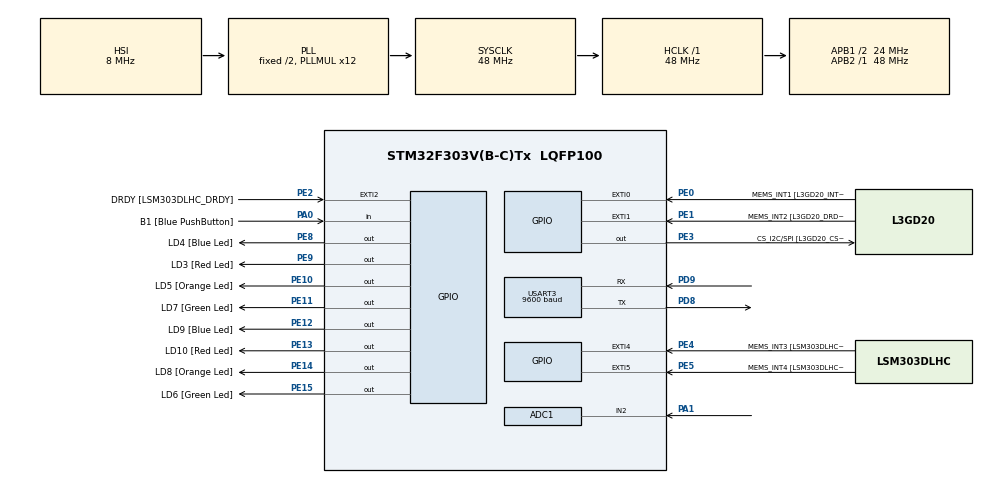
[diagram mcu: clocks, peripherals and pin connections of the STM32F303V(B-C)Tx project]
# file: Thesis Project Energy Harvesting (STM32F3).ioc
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ADC1.Channel-2\#ChannelRegularConversion=ADC_CHANNEL_VREFINT
ADC1.Channel-4\#ChannelRegularConversion=ADC_CHANNEL_2
ADC1.ClockPrescaler=ADC_CLOCK_ASYNC_DIV1
ADC1.ContinuousConvMode=ENABLE
ADC1.DMAContinuousRequests=DISABLE
ADC1.DataAlign=ADC_DATAALIGN_RIGHT
ADC1.DiscontinuousConvMode=DISABLE
ADC1.EOCSelection=ADC_EOC_SINGLE_CONV
ADC1.EnableAnalogWatchDog1=false
ADC1.EnableAnalogWatchDog2=false
ADC1.EnableAnalogWatchDog3=false
ADC1.EnableInjectedConversion=ENABLE
ADC1.EnableRegularConversion=ENABLE
ADC1.ExternalTrigConv=ADC_SOFTWARE_START
ADC1.ExternalTrigConvEdge=ADC_EXTERNALTRIGCONVEDGE_NONE
ADC1.InjNumberOfConversion=0
ADC1.LowPowerAutoWait=DISABLE
ADC1.NbrOfConversion=2
ADC1.NbrOfConversionFlag=1
ADC1.Offset-2\#ChannelRegularConversion=0
ADC1.Offset-4\#ChannelRegularConversion=0
ADC1.OffsetNumber-2\#ChannelRegularConversion=ADC_OFFSET_NONE
ADC1.OffsetNumber-4\#ChannelRegularConversion=ADC_OFFSET_NONE
ADC1.Overrun=ADC_OVR_DATA_OVERWRITTEN
ADC1.Rank-2\#ChannelRegularConversion=1
ADC1.Rank-4\#ChannelRegularConversion=2
ADC1.Resolution=ADC_RESOLUTION_12B
ADC1.SamplingTime-2\#ChannelRegularConversion=ADC_SAMPLETIME_601CYCLES_5
ADC1.SamplingTime-4\#ChannelRegularConversion=ADC_SAMPLETIME_601CYCLES_5
ADC1.ScanConvMode=ADC_SCAN_ENABLE
ADC1.master=1
Mcu.Family=STM32F3
Mcu.Name=STM32F303V(B-C)Tx
Mcu.Package=LQFP100
NVIC.ADC1_2_IRQn=true\:0\:0\:false\:false\:true\:true\:true
NVIC.PriorityGroup=NVIC_PRIORITYGROUP_0
PA0.GPIO_Label=B1 [Blue PushButton]
PA0.GPIO_Mode=GPIO_MODE_INPUT
PA0.GPIO_PuPd=GPIO_NOPULL
PA0.Signal=GPIO_Input
PA1.Mode=IN2-Single-Ended
PA1.Signal=ADC1_IN2
PA11.GPIO_Label=DM
PA11.Signal=USB_DM
PA12.GPIO_Label=DP
PA12.Signal=USB_DP
PA13.GPIO_Label=SWDIO
PA13.Mode=Serial_Wire
PA13.Signal=SYS_JTMS-SWDIO
PA14.GPIO_Label=SWCLK
PA14.Mode=Serial_Wire
PA14.Signal=SYS_JTCK-SWCLK
PA5.GPIO_Label=SPI1_SCK [L3GD20_SCL/SPC]
PA5.GPIO_Mode=GPIO_MODE_AF_PP
PA5.GPIO_PuPd=GPIO_NOPULL
PA5.GPIO_Speed=GPIO_SPEED_FREQ_LOW
PA5.Signal=SPI1_SCK
PA6.GPIO_Label=SPI1_MISO [L3GD20_SA0/SDO]
PA6.GPIO_Mode=GPIO_MODE_AF_PP
PA6.GPIO_PuPd=GPIO_NOPULL
PA6.GPIO_Speed=GPIO_SPEED_FREQ_LOW
PA6.Signal=SPI1_MISO
PA7.GPIO_Label=SPI1_MISO [L3GD20_SDA/SDI/SDO]
PA7.GPIO_Mode=GPIO_MODE_AF_PP
PA7.GPIO_PuPd=GPIO_NOPULL
PA7.GPIO_Speed=GPIO_SPEED_FREQ_LOW
PA7.Signal=SPI1_MOSI
PB3.GPIO_Label=SWO
PB3.Signal=SYS_JTDO-TRACESWO
PB6.GPIO_FM6=__NULL
PB6.GPIO_Label=I2C1_SCL [LSM303DLHC_SCL]
PB6.GPIO_Mode=GPIO_MODE_AF_OD
PB6.GPIO_PuPd=GPIO_NOPULL
PB6.GPIO_Speed=GPIO_SPEED_FREQ_LOW
PB6.Signal=I2C1_SCL
PB7.GPIO_FM7=__NULL
PB7.GPIO_Label=I2C1_SDA [LSM303DLHC_SDA]
PB7.GPIO_Mode=GPIO_MODE_AF_OD
PB7.GPIO_PuPd=GPIO_NOPULL
PB7.GPIO_Speed=GPIO_SPEED_FREQ_LOW
PB7.Signal=I2C1_SDA
PC14-OSC32_IN.GPIO_Label=OSC32_IN
PC14-OSC32_IN.Signal=RCC_OSC32_IN
PC15-OSC32_OUT.GPIO_Label=OSC32_OUT
PC15-OSC32_OUT.Signal=RCC_OSC32_OUT
PD8.Mode=Asynchronous
PD8.Signal=USART3_TX
PD9.Mode=Asynchronous
PD9.Signal=USART3_RX
PE0.GPIO_Label=MEMS_INT1 [L3GD20_INT1]
PE0.GPIO_ModeDefaultEXTI=GPIO_MODE_EVT_RISING
PE0.GPIO_PuPd=GPIO_NOPULL
PE0.Signal=GPXTI0
PE1.GPIO_Label=MEMS_INT2 [L3GD20_DRDY/INT2]
PE1.GPIO_ModeDefaultEXTI=GPIO_MODE_EVT_RISING
PE1.GPIO_PuPd=GPIO_NOPULL
PE1.Signal=GPXTI1
PE10.GPIO_Label=LD5 [Orange Led]
PE10.GPIO_ModeDefaultOutputPP=GPIO_MODE_OUTPUT_PP
PE10.GPIO_PuPd=GPIO_NOPULL
PE10.GPIO_Speed=GPIO_SPEED_FREQ_LOW
PE10.Signal=GPIO_Output
PE11.GPIO_Label=LD7 [Green Led]
PE11.GPIO_ModeDefaultOutputPP=GPIO_MODE_OUTPUT_PP
PE11.GPIO_PuPd=GPIO_NOPULL
PE11.GPIO_Speed=GPIO_SPEED_FREQ_LOW
PE11.Signal=GPIO_Output
PE12.GPIO_Label=LD9 [Blue Led]
PE12.GPIO_ModeDefaultOutputPP=GPIO_MODE_OUTPUT_PP
PE12.GPIO_PuPd=GPIO_NOPULL
PE12.GPIO_Speed=GPIO_SPEED_FREQ_LOW
PE12.Signal=GPIO_Output
PE13.GPIO_Label=LD10 [Red Led]
PE13.GPIO_ModeDefaultOutputPP=GPIO_MODE_OUTPUT_PP
PE13.GPIO_PuPd=GPIO_NOPULL
PE13.GPIO_Speed=GPIO_SPEED_FREQ_LOW
PE13.Signal=GPIO_Output
PE14.GPIO_Label=LD8 [Orange Led]
PE14.GPIO_ModeDefaultOutputPP=GPIO_MODE_OUTPUT_PP
PE14.GPIO_PuPd=GPIO_NOPULL
PE14.GPIO_Speed=GPIO_SPEED_FREQ_LOW
PE14.Signal=GPIO_Output
PE15.GPIO_Label=LD6 [Green Led]
PE15.GPIO_ModeDefaultOutputPP=GPIO_MODE_OUTPUT_PP
PE15.GPIO_PuPd=GPIO_NOPULL
PE15.GPIO_Speed=GPIO_SPEED_FREQ_LOW
PE15.Signal=GPIO_Output
PE2.GPIO_Label=DRDY [LSM303DLHC_DRDY]
PE2.GPIO_ModeDefaultEXTI=GPIO_MODE_EVT_RISING
PE2.GPIO_PuPd=GPIO_NOPULL
PE2.Signal=GPXTI2
PE3.GPIO_Label=CS_I2C/SPI [L3GD20_CS_I2C/SPI]
PE3.GPIO_ModeDefaultOutputPP=GPIO_MODE_OUTPUT_PP
PE3.GPIO_PuPd=GPIO_NOPULL
PE3.GPIO_Speed=GPIO_SPEED_FREQ_LOW
PE3.Signal=GPIO_Output
PE4.GPIO_Label=MEMS_INT3 [LSM303DLHC_INT1]
PE4.GPIO_ModeDefaultEXTI=GPIO_MODE_EVT_RISING
PE4.GPIO_PuPd=GPIO_NOPULL
PE4.Signal=GPXTI4
PE5.GPIO_Label=MEMS_INT4 [LSM303DLHC_INT2]
PE5.GPIO_ModeDefaultEXTI=GPIO_MODE_EVT_RISING
PE5.GPIO_PuPd=GPIO_NOPULL
PE5.Signal=GPXTI5
PE8.GPIO_Label=LD4 [Blue Led]
PE8.GPIO_ModeDefaultOutputPP=GPIO_MODE_OUTPUT_PP
PE8.GPIO_PuPd=GPIO_NOPULL
PE8.GPIO_Speed=GPIO_SPEED_FREQ_LOW
PE8.Signal=GPIO_Output
PE9.GPIO_Label=LD3 [Red Led]
PE9.GPIO_ModeDefaultOutputPP=GPIO_MODE_OUTPUT_PP
PE9.GPIO_PuPd=GPIO_NOPULL
PE9.GPIO_Speed=GPIO_SPEED_FREQ_LOW
PE9.Signal=GPIO_Output
PF0-OSC_IN.GPIO_Label=OSC_IN
PF0-OSC_IN.Signal=RCC_OSC_IN
PF1-OSC_OUT.GPIO_Label=OSC_OUT
PF1-OSC_OUT.Signal=RCC_OSC_OUT
ProjectManager.HeapSize=0x200
ProjectManager.StackSize=0x400
ProjectManager.TargetToolchain=EWARM V7
RCC.AHBFreq_Value=48000000
RCC.APB1CLKDivider=RCC_HCLK_DIV2
RCC.APB1Freq_Value=24000000
RCC.APB1TimFreq_Value=48000000
RCC.APB2Freq_Value=48000000
RCC.APB2TimFreq_Value=48000000
RCC.CortexFreq_Value=48000000
RCC.HCLKFreq_Value=48000000
RCC.HSE_VALUE=8000000
RCC.HSI_VALUE=8000000
RCC.LSE_VALUE=32768
RCC.PLLMUL=RCC_PLL_MUL12
RCC.SYSCLKFreq_VALUE=48000000
RCC.SYSCLKSourceVirtual=RCC_SYSCLKSOURCE_PLLCLK
RCC.USBFreq_Value=48000000
USART3.BaudRate=9600
USART3.VirtualMode-Asynchronous=VM_ASYNC
VP_ADC1_Vref_Input.Mode=IN-Vrefint
board=STM32F3DISCOVERY

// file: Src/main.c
/* USER CODE BEGIN Header */
/**
  ******************************************************************************
  * @file           : main.c
  * @brief          : Main program body
  ******************************************************************************
  * @attention
  *
  * <h2><center>&copy; Copyright (c) 2019 STMicroelectronics.
  * All rights reserved.</center></h2>
  *
  * This software component is licensed by ST under BSD 3-Clause license,
  * the "License"; You may not use this file except in compliance with the
  * License. You may obtain a copy of the License at:
  *                        opensource.org/licenses/BSD-3-Clause
  *
  ******************************************************************************
  */
/* USER CODE END Header */

#include "main.h"

/* USER CODE BEGIN Includes */
#include "UART_Transmit.h"

/* USER CODE END Includes */

ADC_HandleTypeDef hadc1;

//UART_HandleTypeDef huart3;

/* USER CODE BEGIN PV */
/* Private variables ---------------------------------------------------------*/
unsigned ADC_raw[2];
unsigned char index= 0;
float Vdd;
float Vin;
float Energy; //Change to ADCMesurment or power
/* USER CODE END PV */

void SystemClock_Config(void);
static void MX_GPIO_Init(void);
static void MX_ADC1_Init(void);
//static void MX_USART3_UART_Init(void);
/* USER CODE BEGIN PFP */
/* Private function prototypes -----------------------------------------------*/

/* USER CODE END PFP */

/* USER CODE BEGIN 0 */
//void HAL_ADC_ConvCpltCallback(ADC_HandleTypeDef* hadc)
//{
//  if (__HAL_ADC_GET_FLAG(hadc, ADC_FLAG_EOC))
//    {
//    ADC_raw[1] = HAL_ADC_GetValue(hadc);
//    Vdd = 3300 * (*VREFINT_CAL_ADDR)/ADC_raw[1];
//    }
//}
//void HAL_ADC_ConvCpltCallback(ADC_HandleTypeDef* hadc)
//{
// if (__HAL_ADC_GET_FLAG(hadc, ADC_FLAG_EOC))
//  {
//  ADC_raw[index] = HAL_ADC_GetValue(hadc);
//  index++;
//  }
//if (__HAL_ADC_GET_FLAG(hadc, ADC_FLAG_EOS))
// {
// index=0;
// Vdd = 3300 * (*VREFINT_CAL_ADDR) / ADC_raw[0];
//
// Vin1 = Vdd*ADC_raw[1]/4095;
// Vin2 = Vdd*ADC_raw[2]/4095;
// vintot=Vin1-Vin2;
// }
//}
void HAL_ADC_ConvCpltCallback(ADC_HandleTypeDef* hadc)
{
  if (__HAL_ADC_GET_FLAG(hadc, ADC_FLAG_EOC))
  {
    ADC_raw[index] = HAL_ADC_GetValue(hadc)+3;
    index++;
  }
  if (__HAL_ADC_GET_FLAG(hadc, ADC_FLAG_EOS))
  {
    index=0;
    Vdd = 3300 * (*VREFINT_CAL_ADDR) / ADC_raw[0];
    Vin = Vdd*ADC_raw[1]/4095;
    //Calculate the energy content of the capacitor
    //Energy = 0.5 * C [Farad] * U [Volt] squared
    //Energy =
    Energy = 0.5 * 1 * Vin * Vin;
  }
}
  // sConfig.SamplingTime = ADC_SAMPLETIME_601CYCLES_5;
/* USER CODE END 0 */

int main(void)
{

  /* MCU Configuration--------------------------------------------------------*/

  /* Reset of all peripherals, Initializes the Flash interface and the Systick. */
  HAL_Init();

  /* Configure the system clock */
  SystemClock_Config();

  /* Initialize all configured peripherals */
  MX_GPIO_Init();
  MX_ADC1_Init();
  MX_USART3_UART_Init();
  /* USER CODE BEGIN 2 */
  while(HAL_ADCEx_Calibration_Start(&hadc1, ADC_SINGLE_ENDED) != HAL_OK);
  while(HAL_ADCEx_Calibration_Start(&hadc1, ADC_DIFFERENTIAL_ENDED) != HAL_OK);
  /* USER CODE END 2 */

  /* Infinite loop */
  while (1)
  {

    /* USER CODE BEGIN 3 */
    HAL_Delay(200);
    HAL_ADC_Start_IT(&hadc1);;
    UART_Transmit(Energy);
   }
  /* USER CODE END 3 */
}

void SystemClock_Config(void)
{
  RCC_OscInitTypeDef RCC_OscInitStruct = {0};
  RCC_ClkInitTypeDef RCC_ClkInitStruct = {0};
  RCC_PeriphCLKInitTypeDef PeriphClkInit = {0};

  /** Initializes the CPU, AHB and APB busses clocks
  */
  RCC_OscInitStruct.OscillatorType = RCC_OSCILLATORTYPE_HSI;
  RCC_OscInitStruct.HSIState = RCC_HSI_ON;
  RCC_OscInitStruct.HSICalibrationValue = RCC_HSICALIBRATION_DEFAULT;
  RCC_OscInitStruct.PLL.PLLState = RCC_PLL_ON;
  RCC_OscInitStruct.PLL.PLLSource = RCC_PLLSOURCE_HSI;
  RCC_OscInitStruct.PLL.PLLMUL = RCC_PLL_MUL12;
  if (HAL_RCC_OscConfig(&RCC_OscInitStruct) != HAL_OK)
  {
    Error_Handler();
  }
  /** Initializes the CPU, AHB and APB busses clocks
  */
  RCC_ClkInitStruct.ClockType = RCC_CLOCKTYPE_HCLK|RCC_CLOCKTYPE_SYSCLK
                              |RCC_CLOCKTYPE_PCLK1|RCC_CLOCKTYPE_PCLK2;
  RCC_ClkInitStruct.SYSCLKSource = RCC_SYSCLKSOURCE_PLLCLK;
  RCC_ClkInitStruct.AHBCLKDivider = RCC_SYSCLK_DIV1;
  RCC_ClkInitStruct.APB1CLKDivider = RCC_HCLK_DIV2;
  RCC_ClkInitStruct.APB2CLKDivider = RCC_HCLK_DIV1;

  if (HAL_RCC_ClockConfig(&RCC_ClkInitStruct, FLASH_LATENCY_1) != HAL_OK)
  {
    Error_Handler();
  }
  PeriphClkInit.PeriphClockSelection = RCC_PERIPHCLK_USART3|RCC_PERIPHCLK_ADC12;
  PeriphClkInit.Usart3ClockSelection = RCC_USART3CLKSOURCE_PCLK1;
  PeriphClkInit.Adc12ClockSelection = RCC_ADC12PLLCLK_DIV1;
  if (HAL_RCCEx_PeriphCLKConfig(&PeriphClkInit) != HAL_OK)
  {
    Error_Handler();
  }
}

static void MX_ADC1_Init(void)
{

  ADC_MultiModeTypeDef multimode = {0};
  ADC_ChannelConfTypeDef sConfig = {0};

  /** Common config
  */
  hadc1.Instance = ADC1;
  hadc1.Init.ClockPrescaler = ADC_CLOCK_ASYNC_DIV1;
  hadc1.Init.Resolution = ADC_RESOLUTION_12B;
  hadc1.Init.ScanConvMode = ADC_SCAN_ENABLE;
  hadc1.Init.ContinuousConvMode = ENABLE;
  hadc1.Init.DiscontinuousConvMode = DISABLE;
  hadc1.Init.ExternalTrigConvEdge = ADC_EXTERNALTRIGCONVEDGE_NONE;
  hadc1.Init.ExternalTrigConv = ADC_SOFTWARE_START;
  hadc1.Init.DataAlign = ADC_DATAALIGN_RIGHT;
  hadc1.Init.NbrOfConversion = 2;
  hadc1.Init.DMAContinuousRequests = DISABLE;
  hadc1.Init.EOCSelection = ADC_EOC_SINGLE_CONV;
  hadc1.Init.LowPowerAutoWait = DISABLE;
  hadc1.Init.Overrun = ADC_OVR_DATA_OVERWRITTEN;
  if (HAL_ADC_Init(&hadc1) != HAL_OK)
  {
    Error_Handler();
  }
  /** Configure the ADC multi-mode
  */
  multimode.Mode = ADC_MODE_INDEPENDENT;
  if (HAL_ADCEx_MultiModeConfigChannel(&hadc1, &multimode) != HAL_OK)
  {
    Error_Handler();
  }
  /** Configure Regular Channel
  */
  sConfig.Channel = ADC_CHANNEL_VREFINT;
  sConfig.Rank = ADC_REGULAR_RANK_1;
  sConfig.SingleDiff = ADC_SINGLE_ENDED;
  sConfig.SamplingTime = ADC_SAMPLETIME_601CYCLES_5;
  sConfig.OffsetNumber = ADC_OFFSET_NONE;
  sConfig.Offset = 0;
  if (HAL_ADC_ConfigChannel(&hadc1, &sConfig) != HAL_OK)
  {
    Error_Handler();
  }
  /** Configure Regular Channel
  */
  sConfig.Channel = ADC_CHANNEL_2;
  sConfig.Rank = ADC_REGULAR_RANK_2;
  if (HAL_ADC_ConfigChannel(&hadc1, &sConfig) != HAL_OK)
  {
    Error_Handler();
  }

}

static void MX_GPIO_Init(void)
{
  GPIO_InitTypeDef GPIO_InitStruct = {0};

  /* GPIO Ports Clock Enable */
  __HAL_RCC_GPIOE_CLK_ENABLE();
  __HAL_RCC_GPIOC_CLK_ENABLE();
  __HAL_RCC_GPIOF_CLK_ENABLE();
  __HAL_RCC_GPIOA_CLK_ENABLE();
  __HAL_RCC_GPIOD_CLK_ENABLE();
  __HAL_RCC_GPIOB_CLK_ENABLE();

  /*Configure GPIO pin Output Level */
  HAL_GPIO_WritePin(GPIOE, CS_I2C_SPI_Pin|LD4_Pin|LD3_Pin|LD5_Pin
                          |LD7_Pin|LD9_Pin|LD10_Pin|LD8_Pin
                          |LD6_Pin, GPIO_PIN_RESET);

  /*Configure GPIO pins : DRDY_Pin MEMS_INT3_Pin MEMS_INT4_Pin MEMS_INT1_Pin
                           MEMS_INT2_Pin */
  GPIO_InitStruct.Pin = DRDY_Pin|MEMS_INT3_Pin|MEMS_INT4_Pin|MEMS_INT1_Pin
                          |MEMS_INT2_Pin;
  GPIO_InitStruct.Mode = GPIO_MODE_EVT_RISING;
  GPIO_InitStruct.Pull = GPIO_NOPULL;
  HAL_GPIO_Init(GPIOE, &GPIO_InitStruct);

  /*Configure GPIO pins : CS_I2C_SPI_Pin LD4_Pin LD3_Pin LD5_Pin
                           LD7_Pin LD9_Pin LD10_Pin LD8_Pin
                           LD6_Pin */
  GPIO_InitStruct.Pin = CS_I2C_SPI_Pin|LD4_Pin|LD3_Pin|LD5_Pin
                          |LD7_Pin|LD9_Pin|LD10_Pin|LD8_Pin
                          |LD6_Pin;
  GPIO_InitStruct.Mode = GPIO_MODE_OUTPUT_PP;
  GPIO_InitStruct.Pull = GPIO_NOPULL;
  GPIO_InitStruct.Speed = GPIO_SPEED_FREQ_LOW;
  HAL_GPIO_Init(GPIOE, &GPIO_InitStruct);

  /*Configure GPIO pin : B1_Pin */
  GPIO_InitStruct.Pin = B1_Pin;
  GPIO_InitStruct.Mode = GPIO_MODE_INPUT;
  GPIO_InitStruct.Pull = GPIO_NOPULL;
  HAL_GPIO_Init(B1_GPIO_Port, &GPIO_InitStruct);

  /*Configure GPIO pins : SPI1_SCK_Pin SPI1_MISO_Pin SPI1_MISOA7_Pin */
  GPIO_InitStruct.Pin = SPI1_SCK_Pin|SPI1_MISO_Pin|SPI1_MISOA7_Pin;
  GPIO_InitStruct.Mode = GPIO_MODE_AF_PP;
  GPIO_InitStruct.Pull = GPIO_NOPULL;
  GPIO_InitStruct.Speed = GPIO_SPEED_FREQ_LOW;
  GPIO_InitStruct.Alternate = GPIO_AF5_SPI1;
  HAL_GPIO_Init(GPIOA, &GPIO_InitStruct);

  /*Configure GPIO pins : DM_Pin DP_Pin */
  GPIO_InitStruct.Pin = DM_Pin|DP_Pin;
  GPIO_InitStruct.Mode = GPIO_MODE_AF_PP;
  GPIO_InitStruct.Pull = GPIO_NOPULL;
  GPIO_InitStruct.Speed = GPIO_SPEED_FREQ_HIGH;
  GPIO_InitStruct.Alternate = GPIO_AF14_USB;
  HAL_GPIO_Init(GPIOA, &GPIO_InitStruct);

  /*Configure GPIO pins : I2C1_SCL_Pin I2C1_SDA_Pin */
  GPIO_InitStruct.Pin = I2C1_SCL_Pin|I2C1_SDA_Pin;
  GPIO_InitStruct.Mode = GPIO_MODE_AF_OD;
  GPIO_InitStruct.Pull = GPIO_PULLUP;
  GPIO_InitStruct.Speed = GPIO_SPEED_FREQ_LOW;
  GPIO_InitStruct.Alternate = GPIO_AF4_I2C1;
  HAL_GPIO_Init(GPIOB, &GPIO_InitStruct);

}

/* USER CODE END 4 */

/************************ (C) COPYRIGHT STMicroelectronics *****END OF FILE****/
